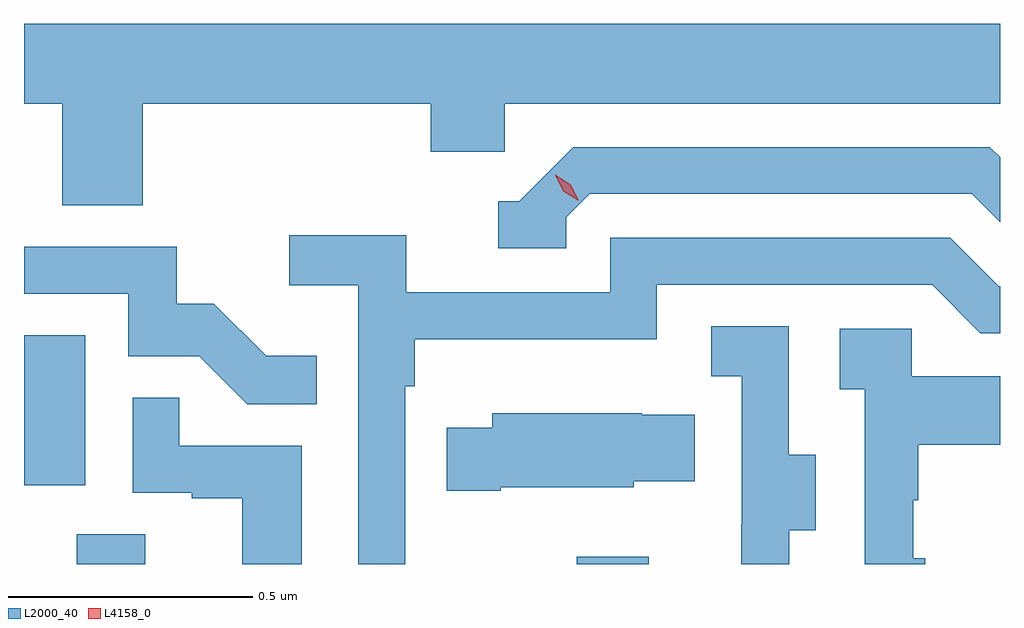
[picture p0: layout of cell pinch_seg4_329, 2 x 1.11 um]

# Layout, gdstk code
import gdstk
lib = gdstk.Library(unit=1e-6, precision=1e-09)
def R(c, l, rs):  # rectangles x0, y0, x1, y1
    for r in rs: c.add(gdstk.rectangle(r[:2], r[2:], *l))
def P(c, l, *ps):  # polygons
    for p in ps: c.add(gdstk.Polygon(p, *l))
L2000_40 = (2000, 40)
L4158_0 = (4158, 0)

pinch_seg4_329 = lib.new_cell('pinch_seg4_329')
R(pinch_seg4_329, L2000_40, [(911.609,801.204,911.749,801.266), (912.634,801.204,912.781,801.22), (911.501,801.366,911.626,801.673)])
P(pinch_seg4_329, L2000_40, [(911.744,802.148),(912.335,802.148),(912.335,802.05),(912.486,802.05),(912.486,802.148),(913.501,802.148),(913.501,802.312),(911.501,802.312),(911.501,802.148),(911.579,802.148),(911.579,801.94),(911.744,801.94)],
  [(912.612,801.915),(912.66,801.963),(913.443,801.963),(913.501,801.905),(913.501,802.038),(913.48,802.059),(912.627,802.059),(912.516,801.948),(912.473,801.948),(912.473,801.852),(912.612,801.852)],
  [(912.282,801.569),(912.302,801.569),(912.302,801.665),(912.798,801.665),(912.798,801.777),(913.362,801.777),(913.461,801.678),(913.501,801.678),(913.501,801.774),(913.498,801.774),(913.399,801.873),(912.702,801.873),(912.702,801.762),(912.284,801.762),(912.284,801.878),(912.045,801.878),(912.045,801.776),(912.186,801.776),(912.186,801.204),(912.282,801.204)],
  [(912.101,801.631),(911.997,801.631),(911.89,801.738),(911.814,801.738),(911.814,801.855),(911.501,801.855),(911.501,801.759),(911.715,801.759),(911.715,801.63),(911.86,801.63),(911.958,801.532),(912.101,801.532)],
  [(913.069,801.274),(913.123,801.274),(913.123,801.429),(913.068,801.429),(913.068,801.692),(912.909,801.692),(912.909,801.589),(912.972,801.589),(912.972,801.285),(912.971,801.285),(912.971,801.204),(913.069,801.204)],
  [(913.348,801.216),(913.323,801.216),(913.323,801.335),(913.333,801.335),(913.333,801.449),(913.501,801.449),(913.501,801.589),(913.32,801.589),(913.32,801.687),(913.173,801.687),(913.173,801.563),(913.224,801.563),(913.224,801.204),(913.348,801.204)],
  [(912.07,801.447),(911.819,801.447),(911.819,801.545),(911.724,801.545),(911.724,801.351),(911.845,801.351),(911.845,801.339),(911.948,801.339),(911.948,801.204),(912.07,801.204)],
  [(912.478,801.362),(912.75,801.362),(912.75,801.374),(912.875,801.374),(912.875,801.511),(912.767,801.511),(912.767,801.514),(912.461,801.514),(912.461,801.484),(912.367,801.484),(912.367,801.355),(912.478,801.355)])
P(pinch_seg4_329, L4158_0, [(912.636,801.95),(912.606,801.969),(912.59,802.002),(912.59,802.002),(912.59,802.002),(912.621,801.982),(912.637,801.95),(912.637,801.95)])

lib.write_gds('pinch_seg4_329.gds')
